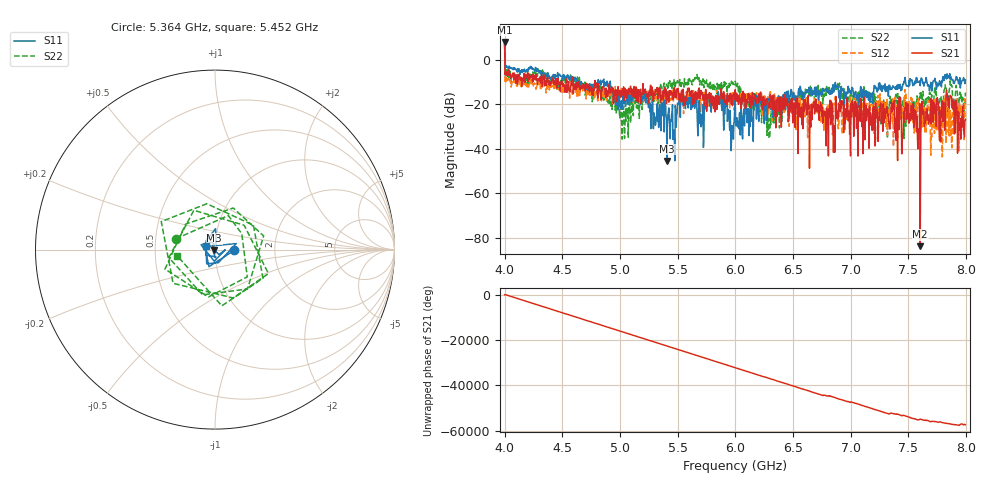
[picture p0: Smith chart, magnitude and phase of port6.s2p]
# Hz S RI R 50
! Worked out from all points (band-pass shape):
!   1000 points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, 4 GHz to 7.996 GHz, reference 50 ohm
!   highest |S21| = 7.98 dB at 4 GHz (marker M1); lowest = -83.9 dB at 7.604 GHz (marker M2)
!   |S21| within 3 dB of the highest: start of sweep to 4.000818 GHz
!   lowest |S11| = -45.5 dB at 5.408 GHz (marker M3), VSWR 1.01, Z = 49.6 - j0.314 ohm
!   |S11| at or under -10 dB: 4.664 GHz to 4.811 GHz (146.5 MHz wide, 3.09 % of centre); 4.916 GHz to 7.463 GHz (2.546 GHz wide, 41.1 % of centre); 7.663 GHz to 7.715 GHz (51.62 MHz wide, 0.671 % of centre) (the widest 3 of 27)
!   |S22| runs from -35.7 to 8.7 dB; largest |S21 - S12| = 4
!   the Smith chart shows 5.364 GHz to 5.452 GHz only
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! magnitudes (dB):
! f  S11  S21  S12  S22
! 4 GHz  8.0  8.0  7.1  8.7
! 4.056 GHz  -3.7  -7.6  -12.3  -9.8
! 4.668 GHz  -11.5  -12.8  -11.9  -10.4
! 5.032 GHz  -19.3  -12.2  -15.6  -21.0
! 5.156 GHz  -16.3  -19.1  -16.9  -22.0
! 5.332 GHz  -22.5  -15.0  -13.3  -19.8
! 5.408 GHz  -45.5  -14.4  -15.7  -11.7
! 5.456 GHz  -20.3  -18.1  -13.7  -11.4
! 5.592 GHz  -21.7  -13.9  -15.2  -9.0
! 5.712 GHz  -27.1  -14.6  -17.9  -11.5
! 5.848 GHz  -18.0  -16.2  -18.5  -13.4
! 5.968 GHz  -36.0  -19.9  -15.6  -9.7
! 6 GHz  -17.7  -13.5  -16.8  -9.7
! 6.288 GHz  -19.6  -21.7  -24.3  -26.8
! 6.664 GHz  -13.8  -27.1  -19.6  -15.8
! 7.332 GHz  -11.5  -28.7  -25.6  -21.0
! 7.544 GHz  -10.6  -19.8  -28.4  -18.4
! 7.604 GHz  -11.7  -83.9  -21.8  -15.0
! 7.632 GHz  -10.2  -22.8  -22.2  -16.9
! 7.8 GHz  -7.6  -27.9  -30.9  -20.1
! 7.852 GHz  -7.1  -21.1  -20.7  -15.8
! 7.996 GHz  -9.1  -26.8  -27.6  -14.8
